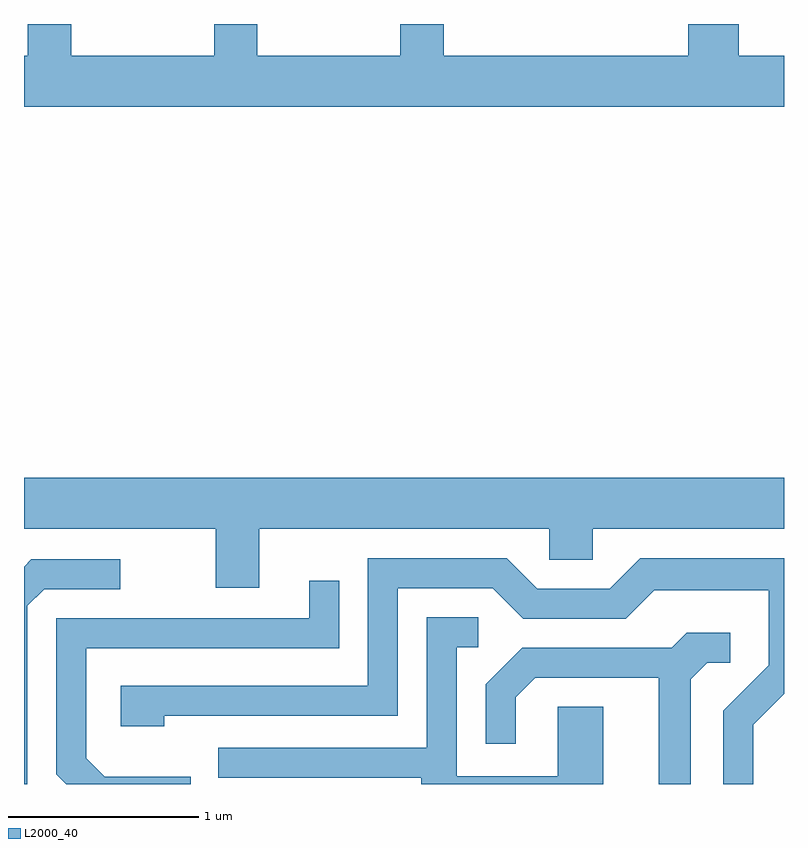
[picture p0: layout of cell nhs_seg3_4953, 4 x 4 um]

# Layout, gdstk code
import gdstk
lib = gdstk.Library(unit=1e-6, precision=1e-09)
def P(c, l, *ps):  # polygons
    for p in ps: c.add(gdstk.Polygon(p, *l))
L2000_40 = (2000, 40)

nhs_seg3_4953 = lib.new_cell('nhs_seg3_4953')
P(nhs_seg3_4953, L2000_40, [(333.611,1241.724),(333.374,1241.724),(333.374,1241.892),(333.106,1241.892),(333.106,1241.724),(331.819,1241.724),(331.819,1241.892),(331.591,1241.892),(331.591,1241.724),(330.839,1241.724),(330.839,1241.892),(330.611,1241.892),(330.611,1241.724),(329.859,1241.724),(329.859,1241.892),(329.631,1241.892),(329.631,1241.724),(329.611,1241.724),(329.611,1241.456),(333.611,1241.456)],
  [(330.849,1239.236),(332.376,1239.236),(332.376,1239.071),(332.604,1239.071),(332.604,1239.236),(333.611,1239.236),(333.611,1239.504),(329.611,1239.504),(329.611,1239.236),(330.621,1239.236),(330.621,1238.926),(330.849,1238.926)],
  [(333.449,1238.204),(333.611,1238.366),(333.611,1239.079),(332.854,1239.079),(332.694,1238.919),(332.312,1238.919),(332.152,1239.079),(331.421,1239.079),(331.421,1238.409),(330.121,1238.409),(330.121,1238.196),(330.349,1238.196),(330.349,1238.251),(331.579,1238.251),(331.579,1238.921),(332.079,1238.921),(332.239,1238.761),(332.777,1238.761),(332.927,1238.911),(333.531,1238.911),(333.531,1238.517),(333.291,1238.277),(333.291,1237.892),(333.449,1237.892)],
  [(329.629,1238.829),(329.717,1238.916),(330.118,1238.916),(330.118,1239.074),(329.649,1239.074),(329.611,1239.036),(329.611,1237.892),(329.629,1237.892)],
  [(330.489,1237.929),(330.037,1237.929),(329.939,1238.027),(329.939,1238.606),(331.269,1238.606),(331.269,1238.963),(331.111,1238.963),(331.111,1238.764),(329.781,1238.764),(329.781,1237.944),(329.833,1237.892),(330.489,1237.892)],
  [(332.659,1238.299),(332.421,1238.299),(332.421,1237.934),(331.889,1237.934),(331.889,1238.611),(332.003,1238.611),(332.003,1238.769),(331.731,1238.769),(331.731,1238.084),(330.633,1238.084),(330.633,1237.926),(331.701,1237.926),(331.701,1237.892),(332.659,1237.892)],
  [(333.119,1238.444),(333.207,1238.531),(333.328,1238.531),(333.328,1238.689),(333.099,1238.689),(333.019,1238.609),(332.234,1238.609),(332.041,1238.417),(332.041,1238.103),(332.199,1238.103),(332.199,1238.349),(332.302,1238.451),(332.951,1238.451),(332.951,1237.892),(333.119,1237.892)])

lib.write_gds('nhs_seg3_4953.gds')
